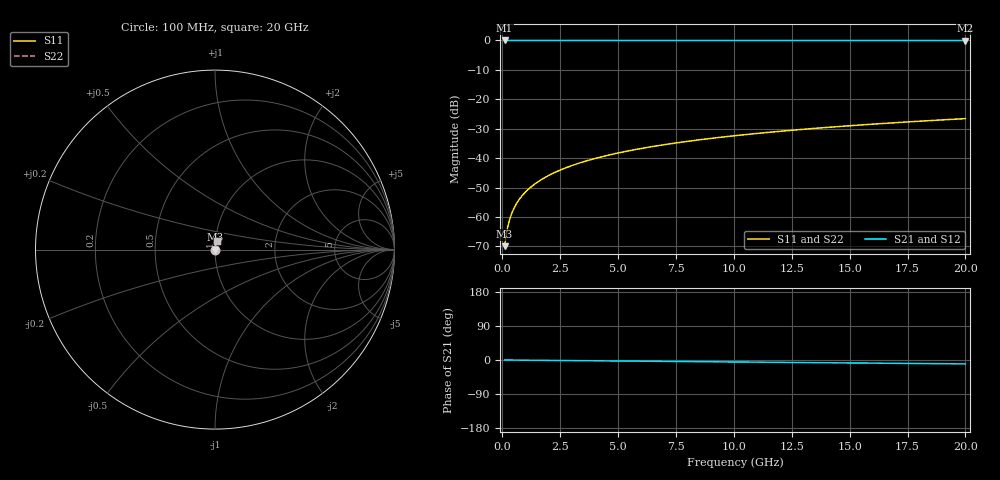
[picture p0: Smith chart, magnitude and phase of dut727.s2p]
! Touchstone file exported from HFSS 2026.1.0
!  File:  C:/ffzhzh/LocalFiles/Ansys_Project_Files/temp_train_TSV_727_1783182438_43440.aedt
!  Generated:  12:28:51 AM Jul  5, 2026
!  Design:  TSV
!  Project:  temp_train_TSV_727_1783182438_43440
! Variables:
!  h_bsmrdl = 2um
!  h_ox = 20um
!  h_rdl = 5um
!  h_sub = 98.4um
!  h_tmrdl = 5um
!  h_tsv = 98.4um
!  h_via = 3um
!  l_bsmrdl = 300um
!  l_sub = 419.9um
!  l_tmrdl = 200um
!  m_sub = 200um
!  pitch = 56.12um
!  r_tsv = 9.95um
!  s_tmrdl = 10um
!  w_bsmrdl = 18um
!  w_sub = 500um
!  w_tmrdl = 12um
!  x_tsv_center1 = 206um
!  x_tsv_center2 = 524um
!  x_tsv_center3 = 736um
!  x_tsv_center4 = 1054um
!  x_tsv_center5 = 1266um
!  x_tsv_center6 = 1584um
# GHz S MA R 50.000000
! Terminal data exported
! Port[1] = TSV1_1_T1
! Port[2] = TSV1_1_T2
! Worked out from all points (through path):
!   200 points, 100 MHz to 20 GHz, reference 50 ohm
!   highest |S21| = 0.00 dB at 100 MHz (marker M1); lowest = 0.0 dB at 20 GHz (marker M2)
!   group delay of S21, straight-line fit = 1.43 ps
!   lowest |S11| = -69.9 dB at 100 MHz (marker M3), VSWR 1.00, Z = 50 + j0.0284 ohm
!   |S11| at or under -10 dB: start of sweep to end of sweep
!   |S22| runs from -69.9 to -26.6 dB; largest |S21 - S12| = 1.8e-15
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0.1  0.0003201 62.6  0.9999 -0.1  0.9999 -0.1  0.0003201 62.6
! Gamma 0 0 0 0
! Port Impedance 50 0 50 0
0.2  0.000588 74.2  0.9998 -0.1  0.9998 -0.1  0.000588 74.2
0.3  0.0008617 77.9  0.9998 -0.2  0.9998 -0.2  0.0008617 77.9
0.4  0.001132 79.6  0.9998 -0.2  0.9998 -0.2  0.001132 79.6
0.5  0.001398 80.4  0.9998 -0.3  0.9998 -0.3  0.001398 80.4
0.6  0.001658 80.9  0.9997 -0.3  0.9997 -0.3  0.001658 80.9
0.7  0.001914 81.3  0.9997 -0.4  0.9997 -0.4  0.001914 81.3
0.8  0.002166 81.6  0.9997 -0.4  0.9997 -0.4  0.002166 81.6
1  0.002661 82.0  0.9997 -0.5  0.9997 -0.5  0.002661 82.0
1.4  0.003633 82.8  0.9996 -0.7  0.9996 -0.7  0.003633 82.8
1.7  0.004356 83.2  0.9995 -0.9  0.9995 -0.9  0.004356 83.2
2  0.005078 83.5  0.9995 -1.1  0.9995 -1.1  0.005078 83.5
2.7  0.00676 83.9  0.9994 -1.4  0.9994 -1.4  0.00676 83.9
3.5  0.008678 84.1  0.9993 -1.8  0.9993 -1.8  0.008678 84.1
4.2  0.01035 84.1  0.9993 -2.2  0.9993 -2.2  0.01035 84.1
5  0.01225 84.0  0.9992 -2.6  0.9992 -2.6  0.01225 84.0
6.8  0.0165 83.5  0.999 -3.5  0.999 -3.5  0.0165 83.5
8.3  0.02002 83.0  0.9988 -4.3  0.9988 -4.3  0.02002 83.0
10.1  0.02423 82.3  0.9987 -5.2  0.9987 -5.2  0.02423 82.3
13.4  0.03189 80.9  0.9983 -6.9  0.9983 -6.9  0.03189 80.9
16.7  0.03948 79.4  0.9979 -8.6  0.9979 -8.6  0.03948 79.4
20  0.04699 77.9  0.9974 -10.3  0.9974 -10.3  0.04699 77.9
